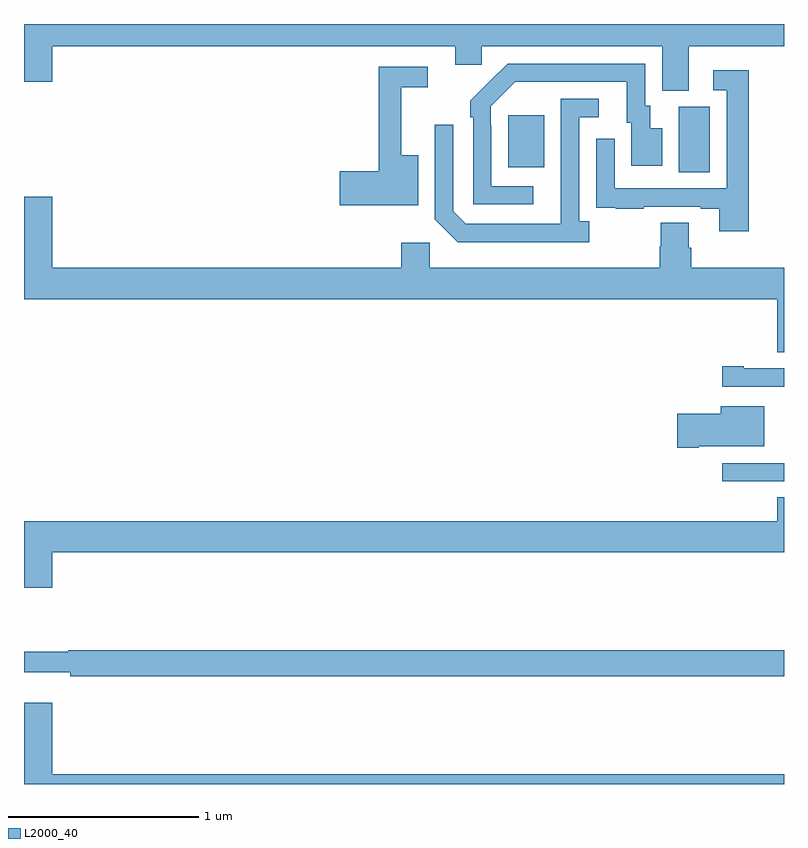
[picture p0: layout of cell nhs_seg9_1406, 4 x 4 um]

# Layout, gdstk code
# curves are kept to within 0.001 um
import gdstk
lib = gdstk.Library(unit=1e-6, precision=1e-09)
def R(c, l, rs):  # rectangles x0, y0, x1, y1
    for r in rs: c.add(gdstk.rectangle(r[:2], r[2:], *l))
def P(c, l, *ps):  # polygons
    for p in ps: c.add(gdstk.Polygon(p, *l))
L2000_40 = (2000, 40)

nhs_seg9_1406 = lib.new_cell('nhs_seg9_1406')
R(nhs_seg9_1406, L2000_40, [(192.675,1230.093,193,1230.189), (192.446,1231.72,192.61,1232.064), (191.549,1231.745,191.737,1232.02)])
P(nhs_seg9_1406, L2000_40, [(192.499,1232.384),(193,1232.384),(193,1232.5),(189,1232.5),(189,1232.196),(189.148,1232.196),(189.148,1232.384),(191.27,1232.384),(191.27,1232.286),(191.409,1232.286),(191.409,1232.384),(192.359,1232.384),(192.359,1232.149),(192.499,1232.149)],
  [(191.68,1231.647),(191.46,1231.647),(191.46,1231.967),(191.457,1231.967),(191.457,1232.067),(191.586,1232.196),(192.173,1232.196),(192.173,1231.98),(192.197,1231.98),(192.197,1231.755),(192.358,1231.755),(192.358,1231.951),(192.295,1231.951),(192.295,1232.07),(192.27,1232.07),(192.27,1232.292),(191.546,1232.292),(191.349,1232.097),(191.349,1232.009),(191.364,1232.009),(191.364,1231.551),(191.68,1231.551)],
  [(191.074,1231.81),(190.985,1231.81),(190.985,1232.166),(191.125,1232.166),(191.125,1232.274),(190.867,1232.274),(190.867,1231.724),(190.662,1231.724),(190.662,1231.546),(191.074,1231.546)],
  [(192.815,1232.257),(192.627,1232.257),(192.627,1232.151),(192.699,1232.151),(192.699,1231.635),(192.108,1231.635),(192.108,1231.897),(192.012,1231.897),(192.012,1231.642),(192.013,1231.642),(192.013,1231.533),(192.115,1231.533),(192.115,1231.527),(192.263,1231.527),(192.263,1231.539),(192.563,1231.539),(192.563,1231.527),(192.659,1231.527),(192.659,1231.41),(192.815,1231.41)],
  [(191.974,1231.462),(191.922,1231.462),(191.922,1232.01),(192.025,1232.01),(192.025,1232.106),(191.826,1232.106),(191.825,1231.449),(191.325,1231.449),(191.259,1231.515),(191.259,1231.969),(191.163,1231.969),(191.163,1231.473),(191.284,1231.352),(191.974,1231.352)],
  [(193,1231.216),(192.512,1231.216),(192.512,1231.322),(192.499,1231.322),(192.499,1231.454),(192.352,1231.454),(192.352,1231.329),(192.347,1231.329),(192.347,1231.216),(191.136,1231.216),(191.136,1231.348),(190.985,1231.348),(190.985,1231.216),(189.148,1231.216),(189.148,1231.591),(189,1231.591),(189,1231.052),(192.965,1231.052),(192.965,1230.772),(193,1230.772)],
  [(193,1230.687),(192.787,1230.687),(192.787,1230.7),(192.675,1230.7),(192.675,1230.591),(193,1230.591)],
  [(192.55,1230.278),(192.895,1230.278),(192.895,1230.487),(192.668,1230.487),(192.668,1230.449),(192.438,1230.449),(192.438,1230.271),(192.55,1230.271)],
  [(189.148,1229.72),(193,1229.72),(193,1230.008),(192.965,1230.008),(192.965,1229.884),(189,1229.884),(189,1229.532),(189.148,1229.532)],
  [(193,1229.204),(189.233,1229.204),(189.233,1229.197),(189,1229.197),(189,1229.087),(189.244,1229.087),(189.244,1229.068),(193,1229.068)],
  [(193,1228.552),(189.148,1228.552),(189.148,1228.927),(189,1228.927),(189,1228.5),(193,1228.5)])

lib.write_gds('nhs_seg9_1406.gds')
